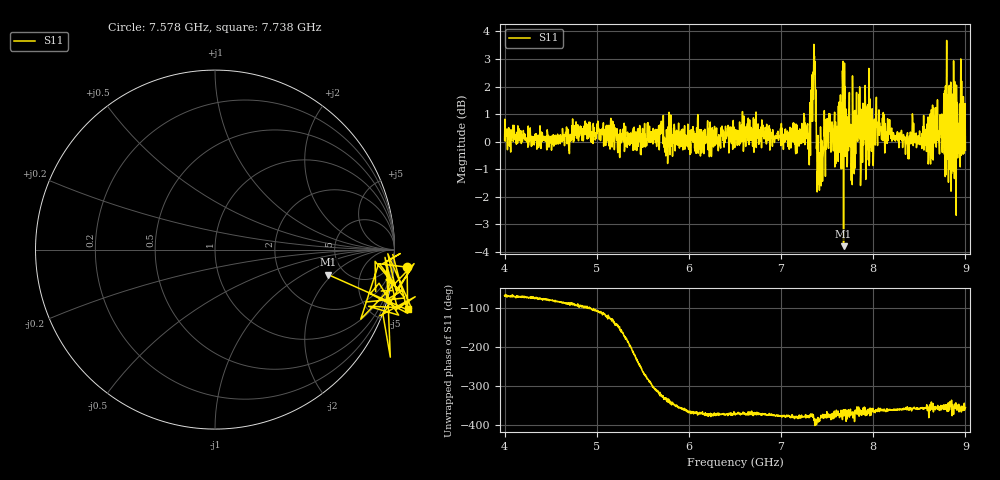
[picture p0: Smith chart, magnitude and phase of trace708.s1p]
! Created with skrf 1.8.0 (http://scikit-rf.org).
# Hz S RI R 50.0
!freq ReS11 ImS11
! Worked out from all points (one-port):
!   1601 points, 4 GHz to 9 GHz, reference 50 ohm
!   lowest |S11| = -3.8 dB at 7.678 GHz (marker M1), VSWR 4.65, Z = 187 - j89.5 ohm
!   |S11| at or under -10 dB: nowhere
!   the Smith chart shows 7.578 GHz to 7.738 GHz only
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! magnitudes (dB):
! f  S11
! 4 GHz  0.1
! 4.625 GHz  0.0
! 4.9 GHz  0.3
! 5.25 GHz  -0.6
! 5.875 GHz  -0.1
! 6.5 GHz  0.4
! 7.125 GHz  0.3
! 7.294 GHz  -0.3
! 7.347 GHz  2.5
! 7.362 GHz  3.1
! 7.412 GHz  -1.3
! 7.509 GHz  0.2
! 7.609 GHz  0.6
! 7.647 GHz  0.7
! 7.678 GHz  -3.8
! 7.75 GHz  -0.2
! 7.784 GHz  -0.6
! 7.828 GHz  0.2
! 7.881 GHz  0.9
! 7.928 GHz  1.2
! 7.981 GHz  -0.3
! 8.05 GHz  0.6
! 8.375 GHz  -0.3
! 8.766 GHz  1.7
! 8.816 GHz  -1.5
! 8.919 GHz  0.1
! 8.972 GHz  0.2
! 9 GHz  -0.3
